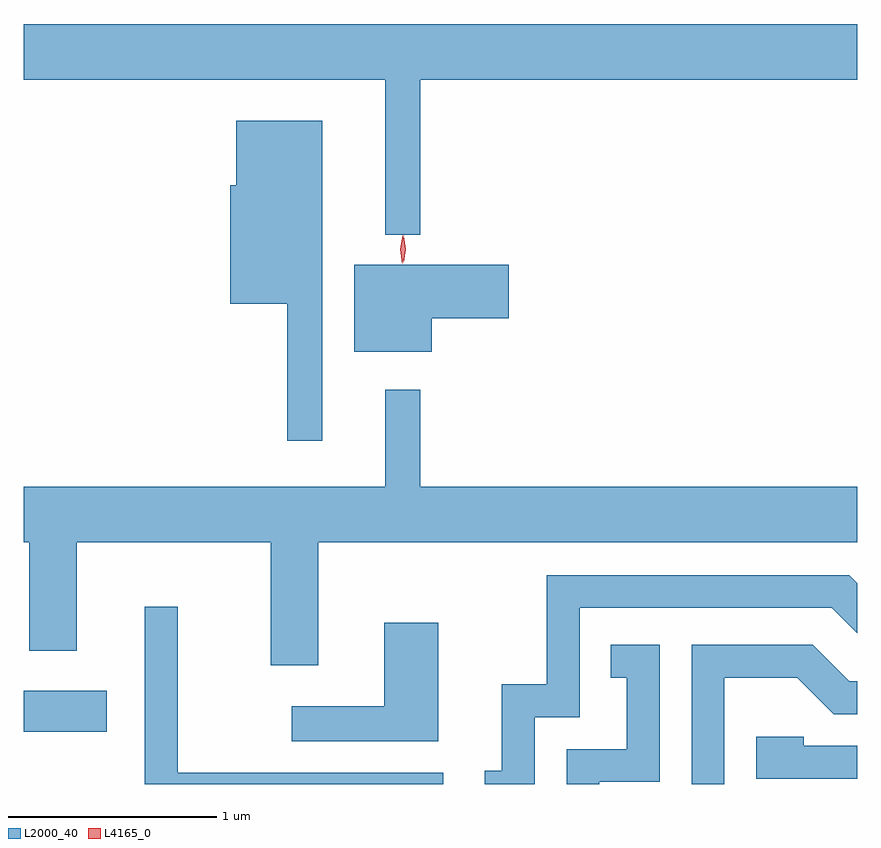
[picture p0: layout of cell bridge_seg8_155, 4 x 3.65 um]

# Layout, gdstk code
import gdstk
lib = gdstk.Library(unit=1e-6, precision=1e-09)
def R(c, l, rs):  # rectangles x0, y0, x1, y1
    for r in rs: c.add(gdstk.rectangle(r[:2], r[2:], *l))
def P(c, l, *ps):  # polygons
    for p in ps: c.add(gdstk.Polygon(p, *l))
L2000_40 = (2000, 40)
L4165_0 = (4165, 0)

bridge_seg8_155 = lib.new_cell('bridge_seg8_155')
R(bridge_seg8_155, L2000_40, [(1445.636,1888.786,1446.034,1888.984)])
P(bridge_seg8_155, L2000_40, [(1447.539,1891.916),(1449.636,1891.916),(1449.636,1892.184),(1445.636,1892.184),(1445.636,1891.916),(1447.371,1891.916),(1447.371,1891.173),(1447.539,1891.173)],
  [(1447.069,1891.719),(1446.656,1891.719),(1446.656,1891.409),(1446.626,1891.409),(1446.626,1890.841),(1446.901,1890.841),(1446.901,1890.183),(1447.069,1890.183)],
  [(1447.594,1890.771),(1447.964,1890.771),(1447.964,1891.029),(1447.221,1891.029),(1447.221,1890.611),(1447.594,1890.611)],
  [(1445.636,1889.696),(1445.661,1889.696),(1445.661,1889.176),(1445.889,1889.176),(1445.889,1889.696),(1446.821,1889.696),(1446.821,1889.106),(1447.049,1889.106),(1447.049,1889.696),(1449.636,1889.696),(1449.636,1889.964),(1447.539,1889.964),(1447.539,1890.428),(1447.371,1890.428),(1447.371,1889.964),(1445.636,1889.964)],
  [(1448.089,1888.856),(1448.304,1888.856),(1448.304,1889.381),(1449.514,1889.381),(1449.636,1889.259),(1449.636,1889.5),(1449.597,1889.539),(1448.146,1889.539),(1448.146,1889.014),(1447.931,1889.014),(1447.931,1888.599),(1447.848,1888.599),(1447.848,1888.536),(1448.089,1888.536)],
  [(1447.648,1888.589),(1446.374,1888.589),(1446.374,1889.388),(1446.216,1889.388),(1446.216,1888.536),(1447.648,1888.536)],
  [(1447.624,1889.309),(1447.366,1889.309),(1447.366,1888.909),(1446.923,1888.909),(1446.923,1888.741),(1447.624,1888.741)],
  [(1448.399,1888.546),(1448.689,1888.546),(1448.689,1889.204),(1448.453,1889.204),(1448.453,1889.046),(1448.531,1889.046),(1448.531,1888.704),(1448.241,1888.704),(1448.241,1888.536),(1448.399,1888.536)],
  [(1448.999,1889.046),(1449.349,1889.046),(1449.524,1888.871),(1449.636,1888.871),(1449.636,1889.029),(1449.597,1889.029),(1449.422,1889.204),(1448.841,1889.204),(1448.841,1888.536),(1448.999,1888.536)],
  [(1449.636,1888.719),(1449.379,1888.719),(1449.379,1888.764),(1449.151,1888.764),(1449.151,1888.561),(1449.636,1888.561)])
P(bridge_seg8_155, L4165_0, [(1447.452,1891.034),(1447.452,1891.034),(1447.443,1891.102),(1447.454,1891.169),(1447.454,1891.17),(1447.454,1891.169),(1447.463,1891.102),(1447.453,1891.034)],
  [(1447.459,1891.04),(1447.449,1891.103),(1447.459,1891.166),(1447.459,1891.167),(1447.46,1891.166),(1447.469,1891.103),(1447.46,1891.04),(1447.46,1891.04)])

lib.write_gds('bridge_seg8_155.gds')
